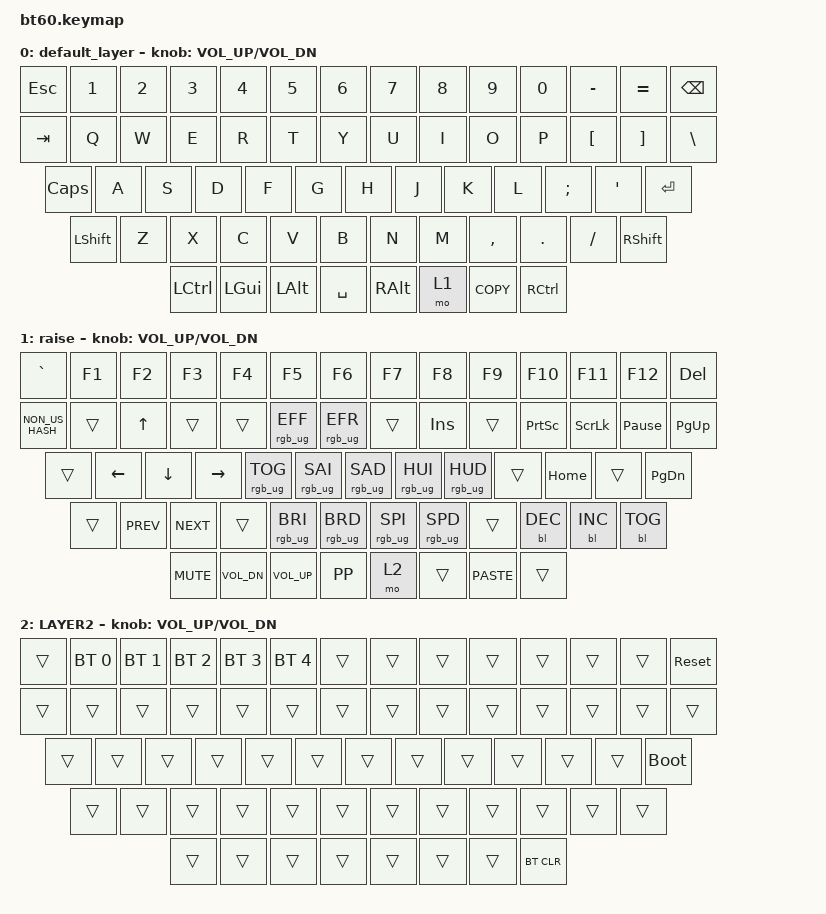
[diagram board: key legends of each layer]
#include <behaviors.dtsi>
#include <dt-bindings/zmk/keys.h>
#include <dt-bindings/zmk/bt.h>
#include <dt-bindings/zmk/rgb.h>
#include <dt-bindings/zmk/backlight.h>

/ {
	keymap {
		compatible = "zmk,keymap";

		default_layer {
				// ------------------------------------------------------------------------------------------
				// |  `  |  1  |  2  |  3  |  4  |  5  |  6  |  7  |  8  |  9  |  0  |  -  |  =  |   BKSP
				// | TAB  |  Q  |  W  |  E  |  R  |  T  |  Y  |  U  |  I  |  O  |  P  |  [  |  ]  |   |
				// | CAPS  |  A  |  S  |  D  |  F  |  G  |  H  |  J  |  K  |  L  |  ;  |  '  |     ENTER
				// |  SHIFT    |  Z  |  X  |  C  |  V  |  B  |  N  |  M  |  ,  |  .  | /   |      SHIFT
				// |  CTL  |  WIN  |  ALT  |            SPACE               | ALT | 1    |  COPY    |  CTRL
				// ------------------------------------------------------------------------------------------
			bindings = <

				&kp ESC &kp N1 &kp N2 &kp N3 &kp N4 &kp N5 &kp N6 &kp N7 &kp  N8   &kp  N9 &kp  N0  &kp MINUS &kp EQUAL &kp BSPC
				&kp TAB  &kp Q  &kp W  &kp E  &kp R  &kp T  &kp Y  &kp U  &kp  I    &kp  O  &kp  P   &kp LBKT &kp RBKT   &kp BSLH
				&kp CAPS  &kp A  &kp S  &kp D  &kp F  &kp G  &kp H  &kp J  &kp  K    &kp  L  &kp SEMI &kp SQT            &kp RET
				&kp LSHFT  &kp Z  &kp X  &kp C  &kp V  &kp B  &kp N  &kp M  &kp COMMA &kp DOT &kp FSLH                   &kp RSHFT
				&kp LCTRL &kp LGUI &kp LALT            &kp SPACE                          &kp RALT  &mo 1 &kp K_COPY     &kp RCTRL
			>;
			sensor-bindings = <&inc_dec_kp C_VOL_UP C_VOL_DN>;
		};
		raise {
			bindings = <
				&kp GRAVE &kp F1 &kp F2 &kp F3 &kp F4 &kp F5 &kp F6 &kp F7 &kp F8 &kp F9 &kp F10 &kp F11 &kp F12 &kp DEL
				&kp NON_US_HASH &trans &kp UP &trans &trans &rgb_ug RGB_EFF &rgb_ug RGB_EFR &trans &kp INS &trans &kp PSCRN &kp SLCK &kp PAUSE_BREAK &kp PG_UP
				&trans &kp LEFT &kp DOWN &kp RIGHT &rgb_ug RGB_TOG &rgb_ug RGB_SAI &rgb_ug RGB_SAD &rgb_ug RGB_HUI &rgb_ug RGB_HUD &trans &kp HOME  &trans &kp PG_DN
				&trans &kp C_PREV &kp C_NEXT &trans &rgb_ug RGB_BRI &rgb_ug RGB_BRD &rgb_ug RGB_SPI &rgb_ug RGB_SPD &trans &bl BL_DEC &bl BL_INC  &bl BL_TOG
				&kp C_MUTE &kp C_VOL_DN  &kp C_VOL_UP              &kp K_PP                            &mo 2   &trans   &kp K_PASTE &trans
			>;
			sensor-bindings = <&inc_dec_kp C_VOL_UP C_VOL_DN>;
		};
		LAYER2 {
			bindings = <
				&trans &bt BT_SEL 0 &bt BT_SEL 1 &bt BT_SEL 2 &bt BT_SEL 3 &bt BT_SEL 4  &trans &trans &trans &trans &trans &trans &trans &sys_reset
				&trans &trans &trans &trans &trans &trans &trans &trans &trans &trans &trans &trans &trans &trans 
				&trans &trans &trans &trans &trans &trans &trans &trans &trans &trans &trans &trans &bootloader
				&trans &trans &trans &trans &trans &trans &trans &trans &trans &trans &trans &trans 
				&trans &trans &trans              &trans                            &trans &trans &trans  &bt BT_CLR
			>;
			sensor-bindings = <&inc_dec_kp C_VOL_UP C_VOL_DN>;
		};
	};
};
